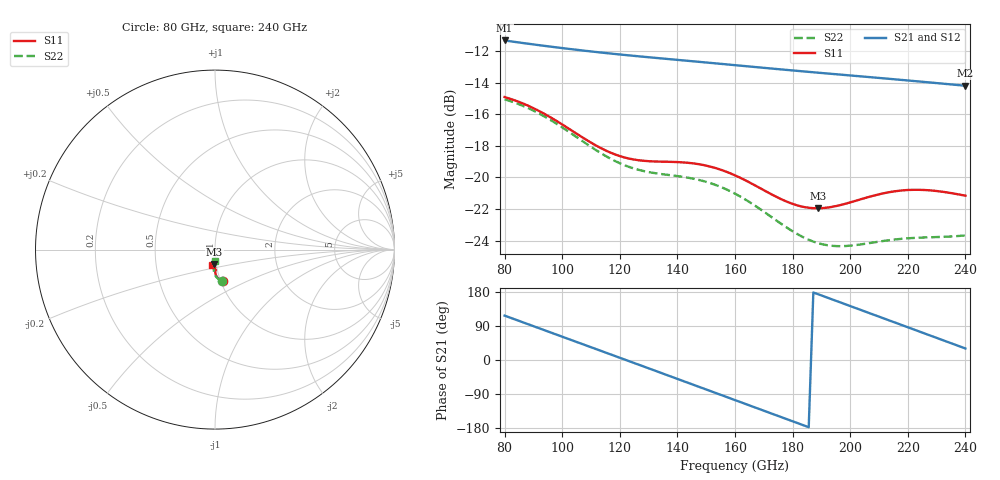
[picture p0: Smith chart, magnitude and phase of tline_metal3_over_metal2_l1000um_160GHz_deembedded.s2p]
! Created with skrf 2.0.1 (http://scikit-rf.org).
# GHz S DB R 50.0
!freq dBS11 angS11 dBS21 angS21 dBS12 angS12 dBS22 angS22
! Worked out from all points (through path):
!   101 points, 80 GHz to 240 GHz, reference 50 ohm
!   highest |S21| = -11.34 dB at 80 GHz (marker M1); lowest = -14.2 dB at 240 GHz (marker M2)
!   group delay of S21, straight-line fit = 7.76 ps
!   lowest |S11| = -22.0 dB at 188.8 GHz (marker M3), VSWR 1.17, Z = 49 - j7.88 ohm
!   |S11| at or under -10 dB: start of sweep to end of sweep
!   |S22| runs from -24.3 to -15.1 dB; largest |S21 - S12| = 3e-13
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80  -14.92 -76.2  -11.34 117.1  -11.34 117.1  -15.06 -77.5
86.4  -15.33 -80.1  -11.50 99.3  -11.50 99.3  -15.48 -81.6
92.8  -15.88 -83.8  -11.66 81.5  -11.66 81.5  -16.04 -85.7
99.2  -16.56 -86.9  -11.80 63.7  -11.80 63.7  -16.74 -89.2
107.2  -17.49 -89.0  -11.98 41.5  -11.98 41.5  -17.72 -92.2
113.6  -18.16 -89.2  -12.11 23.7  -12.11 23.7  -18.48 -93.0
120  -18.65 -88.4  -12.23 5.9  -12.23 5.9  -19.10 -92.9
126.4  -18.91 -87.6  -12.34 -11.9  -12.34 -11.9  -19.51 -92.4
134.4  -19.00 -87.7  -12.48 -34.2  -12.48 -34.2  -19.79 -92.6
147.2  -19.16 -91.6  -12.69 -70.0  -12.69 -70.0  -20.15 -96.3
153.6  -19.43 -94.3  -12.79 -87.9  -12.79 -87.9  -20.50 -99.2
160  -19.87 -96.8  -12.90 -105.8  -12.90 -105.8  -21.03 -102.1
166.4  -20.45 -98.4  -13.01 -123.7  -13.01 -123.7  -21.72 -104.1
174.4  -21.23 -98.2  -13.14 -146.1  -13.14 -146.1  -22.72 -104.8
180.8  -21.72 -96.2  -13.25 -163.9  -13.25 -163.9  -23.49 -103.2
187.2  -21.94 -93.3  -13.35 178.2  -13.35 178.2  -24.06 -100.2
188.8  -21.95 -92.5  -13.38 173.7  -13.38 173.7  -24.15 -99.3
195.2  -21.81 -90.2  -13.48 155.8  -13.48 155.8  -24.34 -95.7
203.2  -21.41 -89.2  -13.60 133.5  -13.60 133.5  -24.25 -92.4
214.4  -20.91 -91.6  -13.78 102.1  -13.78 102.1  -23.95 -91.0
227.2  -20.81 -96.5  -13.99 66.3  -13.99 66.3  -23.79 -91.3
240  -21.15 -100.5  -14.20 30.4  -14.20 30.4  -23.66 -91.2
